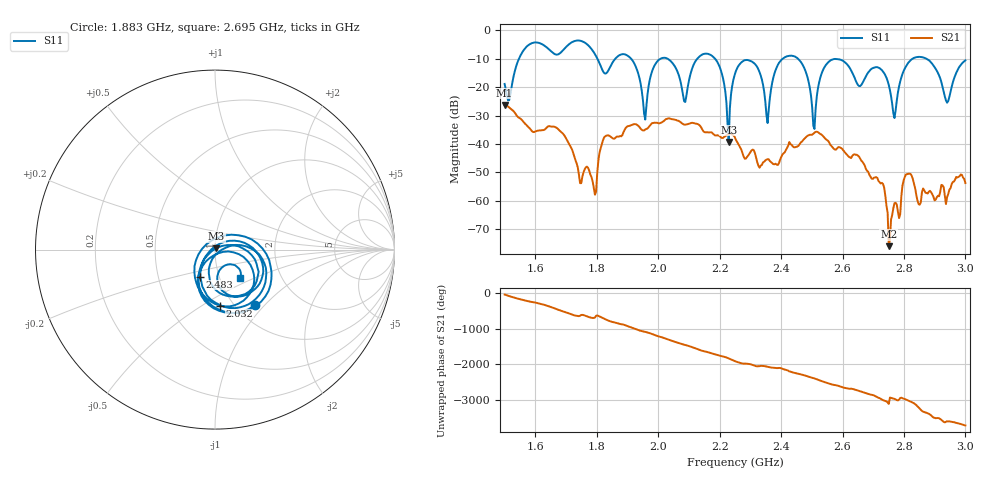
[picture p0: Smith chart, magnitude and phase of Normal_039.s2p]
# HZ S RI R 50
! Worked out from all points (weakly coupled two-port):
!   404 points, 1.5 GHz to 3 GHz, reference 50 ohm
!   highest |S21| = -26.30 dB at 1.5 GHz (marker M1); lowest = -75.9 dB at 2.751 GHz (marker M2)
!   lowest |S11| = -39.3 dB at 2.23 GHz (marker M3), VSWR 1.02, Z = 50.7 + j0.797 ohm
!   |S11| at or under -10 dB: 2.185 GHz to 2.405 GHz (220.2 MHz wide, 9.59 % of centre); 2.455 GHz to 2.828 GHz (373 MHz wide, 14.1 % of centre); 2.873 GHz to end of sweep (the widest 3 of 7)
!   S12 and S22 are empty: the file has one direction only
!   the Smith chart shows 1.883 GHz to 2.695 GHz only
!   S11 on the Smith chart (normalised r, x): 1.883 GHz: 1.22, -0.88; 2.032 GHz: 0.86, -0.60; 2.483 GHz: 0.81, -0.25; 2.695 GHz: 1.26, -0.41
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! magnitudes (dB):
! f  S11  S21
! 1.5 GHz  -18.9  -26.3
! 1.753 GHz  -3.9  -51.5
! 1.883 GHz  -8.4  -36.9
! 1.958 GHz  -31.4  -34.9
! 2.002 GHz  -10.4  -32.8
! 2.032 GHz  -10.1  -31.0
! 2.088 GHz  -25.2  -33.2
! 2.177 GHz  -9.2  -36.3
! 2.23 GHz  -39.3  -36.5
! 2.252 GHz  -14.7  -38.3
! 2.315 GHz  -11.9  -43.3
! 2.356 GHz  -32.6  -45.3
! 2.404 GHz  -10.1  -43.7
! 2.483 GHz  -15.3  -37.4
! 2.501 GHz  -27.1  -36.7
! 2.561 GHz  -10.6  -40.4
! 2.695 GHz  -13.5  -52.2
! 2.751 GHz  -19.3  -75.9
! 2.769 GHz  -30.9  -60.8
! 2.81 GHz  -12.1  -50.6
! 2.94 GHz  -25.5  -58.7
! 3 GHz  -10.6  -53.7
